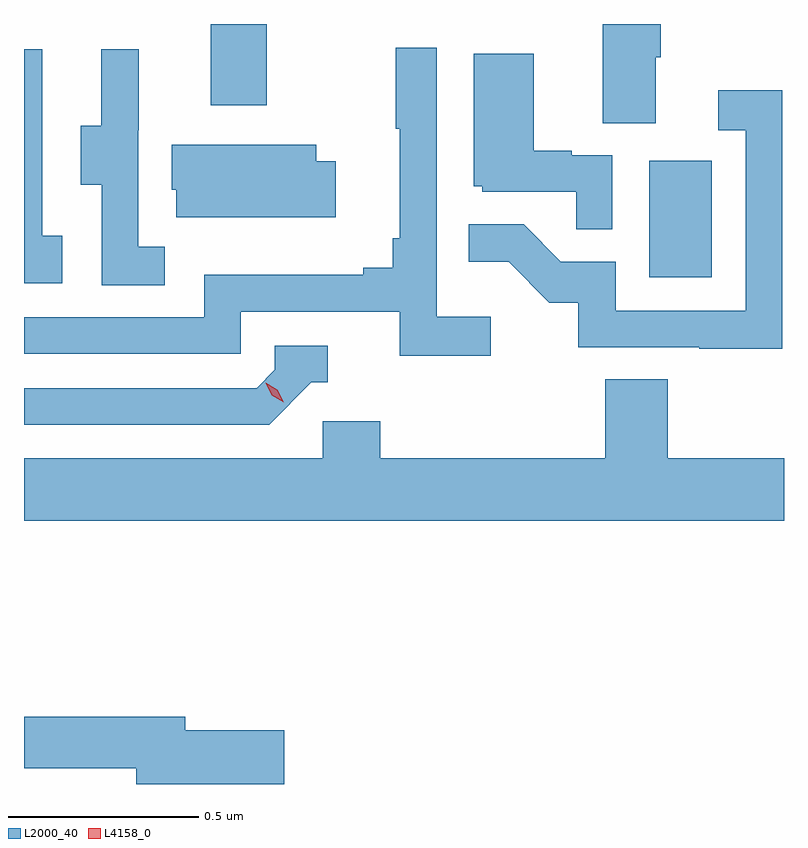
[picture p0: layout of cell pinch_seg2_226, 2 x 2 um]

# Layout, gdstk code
import gdstk
lib = gdstk.Library(unit=1e-6, precision=1e-09)
def R(c, l, rs):  # rectangles x0, y0, x1, y1
    for r in rs: c.add(gdstk.rectangle(r[:2], r[2:], *l))
def P(c, l, *ps):  # polygons
    for p in ps: c.add(gdstk.Polygon(p, *l))
L2000_40 = (2000, 40)
L4158_0 = (4158, 0)

pinch_seg2_226 = lib.new_cell('pinch_seg2_226')
R(pinch_seg2_226, L2000_40, [(994.088,650.94,994.252,651.247), (992.933,651.393,993.081,651.607)])
P(pinch_seg2_226, L2000_40, [(994.105,651.52),(994.118,651.52),(994.118,651.607),(993.965,651.607),(993.965,651.346),(994.105,651.346)],
  [(993.67,650.836),(993.528,650.836),(993.528,651.544),(993.42,651.544),(993.42,651.331),(993.431,651.331),(993.431,651.043),(993.412,651.043),(993.412,650.966),(993.335,650.966),(993.335,650.947),(992.916,650.947),(992.916,650.835),(992.442,650.835),(992.442,650.739),(993.012,650.739),(993.012,650.85),(993.431,650.85),(993.431,650.734),(993.67,650.734)],
  [(992.542,651.05),(992.49,651.05),(992.49,651.541),(992.442,651.541),(992.442,650.925),(992.542,650.925)],
  [(992.812,651.021),(992.742,651.021),(992.742,651.327),(992.744,651.327),(992.744,651.541),(992.645,651.541),(992.645,651.339),(992.591,651.339),(992.591,651.184),(992.646,651.184),(992.646,650.92),(992.812,650.92)],
  [(993.99,651.261),(993.884,651.261),(993.884,651.274),(993.784,651.274),(993.784,651.529),(993.626,651.529),(993.626,651.18),(993.648,651.18),(993.648,651.165),(993.895,651.165),(993.895,651.067),(993.99,651.067)],
  [(994.437,651.433),(994.269,651.433),(994.269,651.327),(994.341,651.327),(994.341,650.853),(993.999,650.853),(993.999,650.982),(993.855,650.982),(993.757,651.08),(993.613,651.08),(993.613,650.981),(993.717,650.981),(993.824,650.874),(993.901,650.874),(993.901,650.757),(994.219,650.757),(994.219,650.752),(994.437,650.752)],
  [(993.262,651.246),(993.211,651.246),(993.211,651.289),(992.831,651.289),(992.831,651.171),(992.843,651.171),(992.843,651.099),(992.947,651.099),(992.947,651.098),(993.262,651.098)],
  [(993.198,650.664),(993.241,650.664),(993.241,650.76),(993.102,650.76),(993.102,650.697),(993.054,650.649),(992.442,650.649),(992.442,650.553),(993.087,650.553)],
  [(994.442,650.464),(994.136,650.464),(994.136,650.672),(993.971,650.672),(993.971,650.464),(993.38,650.464),(993.38,650.562),(993.228,650.562),(993.228,650.464),(992.442,650.464),(992.442,650.3),(994.442,650.3)],
  [(993.127,649.748),(992.866,649.748),(992.866,649.784),(992.442,649.784),(992.442,649.648),(992.738,649.648),(992.738,649.607),(993.127,649.607)])
P(pinch_seg2_226, L4158_0, [(993.126,650.611),(993.094,650.63),(993.078,650.663),(993.078,650.663),(993.078,650.663),(993.109,650.644),(993.126,650.611),(993.126,650.611)])

lib.write_gds('pinch_seg2_226.gds')
